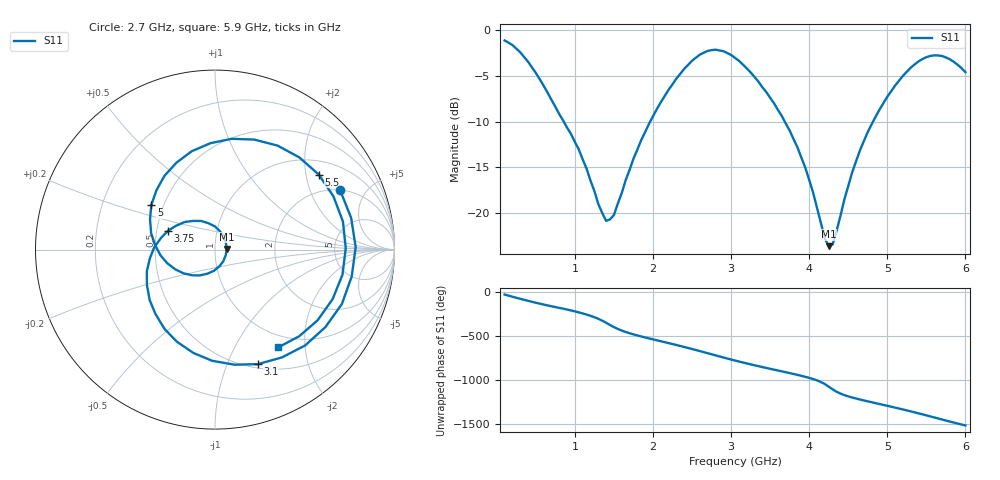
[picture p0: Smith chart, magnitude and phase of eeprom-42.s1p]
! Created with skrf 2.0.0 (http://scikit-rf.org).
# Hz S RI R 50.0
!freq ReS11 ImS11
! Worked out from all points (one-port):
!   119 points, 100 MHz to 6 GHz, reference 50 ohm
!   lowest |S11| = -23.6 dB at 4.25 GHz (marker M1), VSWR 1.14, Z = 57 + j0.421 ohm
!   |S11| at or under -10 dB: 857.6 MHz to 1.963 GHz (1.106 GHz wide, 78.4 % of centre); 3.687 GHz to 4.817 GHz (1.13 GHz wide, 26.6 % of centre)
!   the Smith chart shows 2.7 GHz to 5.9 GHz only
!   S11 on the Smith chart (normalised r, x): 2.7 GHz: 2.02, +3.29; 3.1 GHz: 0.54, -1.29; 3.75 GHz: 0.57, +0.13; 5 GHz: 0.43, +0.26; 5.5 GHz: 1.39, +2.37; 5.9 GHz: 0.81, -1.52
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1e8  0.7965 -0.3748
3e8  0.211 -0.7284
5e8  -0.2806 -0.5128
6.5e8  -0.3917 -0.2339
8.5e8  -0.3185 0.0365
1.1e9  -0.0956 0.1716
1.4e9  0.0882 0.0204
1.6e9  0.0306 -0.1248
1.85e9  -0.2028 -0.1481
2.1e9  -0.3845 0.1241
2.35e9  -0.1745 0.5516
2.55e9  0.3387 0.6227
2.7e9  0.6976 0.3298
2.85e9  0.7617 -0.1499
3.05e9  0.3732 -0.6005
3.1e9  0.2386 -0.6382
3.4e9  -0.3321 -0.3577
3.75e9  -0.2626 0.1047
3.8e9  -0.2158 0.1334
4.25e9  0.0657 0.00368
4.55e9  -0.0843 -0.1438
4.75e9  -0.2671 -0.0752
5e9  -0.3549 0.248
5.3e9  0.0925 0.6173
5.5e9  0.5779 0.4183
5.7e9  0.7102 -0.14
5.9e9  0.3509 -0.5454
6e9  0.1102 -0.5804
